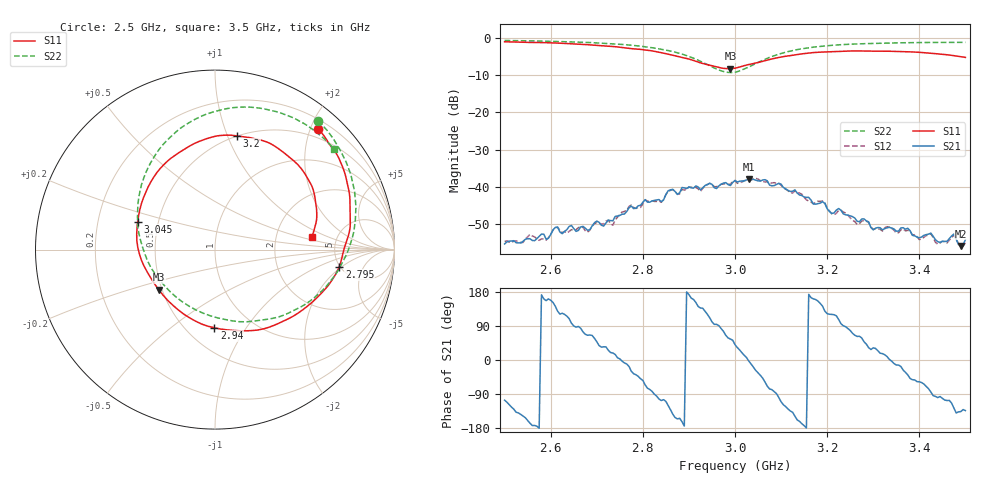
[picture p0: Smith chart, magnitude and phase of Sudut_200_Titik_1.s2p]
# Hz S RI R 50
! CMT, C1220, 16058040, 17.2.0/1
! Date: 15/08/2018 09:48:55
! Data: Format (Calibration Info)
! Freq  S11: Re/Im (F2)  S21: Re/Im (F2)  S12: Re/Im (F2)  S22: Re/Im (F2)
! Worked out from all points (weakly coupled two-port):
!   201 points, 2.5 GHz to 3.5 GHz, reference 50 ohm
!   highest |S21| = -37.91 dB at 3.03 GHz (marker M1); lowest = -55.8 dB at 3.49 GHz (marker M2)
!   lowest |S11| = -8.3 dB at 2.99 GHz (marker M3), VSWR 2.25, Z = 24 - j12.6 ohm
!   |S11| at or under -10 dB: nowhere
!   |S22| runs from -9.3 to -0.7 dB; largest |S21 - S12| = 0.0011
!   S11 on the Smith chart (normalised r, x): 2.5 GHz: 0.35, +2.13; 2.795 GHz: 4.92, -1.84; 2.94 GHz: 0.68, -0.73; 3.045 GHz: 0.38, +0.15; 3.2 GHz: 0.50, +1.08; 3.5 GHz: 3.25, +0.67
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2.5e9  0.5765 0.6693  -0.000476 -0.00166  -0.000457 -0.00181  0.5753 0.7179
2.67e9  0.7465 0.3264  0.000797 0.00287  0.000934 0.00274  0.7476 0.4445
2.735e9  0.7529 0.1285  0.00336 0.00112  0.00292 0.000982  0.7816 0.2777
2.77e9  0.7196 0.0057  0.00504 -0.00156  0.00522 -0.00172  0.7818 0.1662
2.795e9  0.692 -0.0956  0.0037 -0.00433  0.00342 -0.00409  0.7679 0.077
2.835e9  0.593 -0.2427  -0.00153 -0.00663  -0.00136 -0.00641  0.706 -0.0791
2.94e9  -0.00363 -0.4355  -0.00548 0.00925  -0.00572 0.00921  0.1738 -0.4024
2.99e9  -0.3134 -0.2233  0.00598 0.00861  0.00611 0.00906  -0.214 -0.2669
3e9  -0.358 -0.1576  0.00932 0.00795  0.00971 0.00742  -0.2781 -0.2046
3.03e9  -0.4353 0.0493  0.0127 -0.000653  0.0125 -0.000474  -0.4052 0.0181
3.045e9  -0.4311 0.1543  0.011 -0.00569  0.0117 -0.0058  -0.4309 0.1389
3.105e9  -0.2669 0.4909  -0.00464 -0.00871  -0.00482 -0.00841  -0.3261 0.5376
3.17e9  0.00872 0.633  -0.00563 0.00191  -0.00578 0.00146  -0.0707 0.7454
3.2e9  0.1236 0.6333  -0.00275 0.00433  -0.00258 0.00455  0.0424 0.7804
3.3e9  0.4098 0.5188  0.00227 0.00142  0.00233 0.00142  0.34 0.769
3.335e9  0.478 0.4544  0.00288 7.84e-05  0.00292 -1.35e-05  0.4175 0.7419
3.4e9  0.5495 0.3244  0.00113 -0.00176  0.000916 -0.00175  0.5346 0.6763
3.425e9  0.5606 0.2633  0.000236 -0.0024  0.000197 -0.00236  0.5719 0.6483
3.44e9  0.5661 0.2233  -0.000295 -0.00183  -0.000253 -0.0017  0.594 0.6306
3.475e9  0.5595 0.1356  -0.0014 -0.00188  -0.00127 -0.00186  0.6368 0.5895
3.49e9  0.5487 0.097  -0.00117 -0.00113  -0.00129 -0.000987  0.6539 0.5706
3.5e9  0.5407 0.0726  -0.00135 -0.00143  -0.00131 -0.00122  0.6652 0.558
